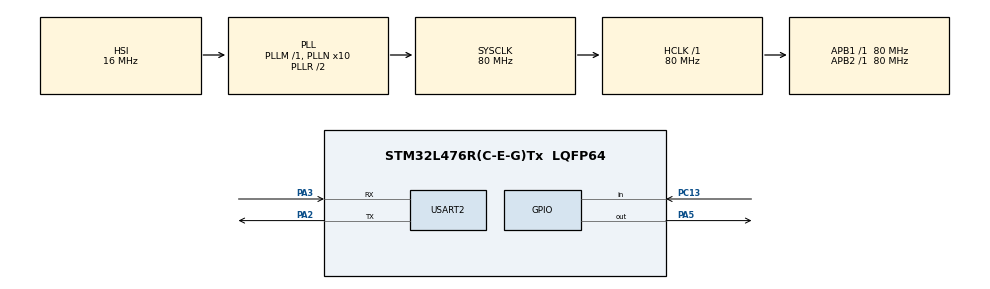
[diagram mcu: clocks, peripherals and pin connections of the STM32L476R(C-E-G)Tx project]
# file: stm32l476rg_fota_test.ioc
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FREERTOS.Tasks01=defaultTask,24,128,StartDefaultTask,Default,NULL,Dynamic,NULL,NULL
Mcu.Family=STM32L4
Mcu.Name=STM32L476R(C-E-G)Tx
Mcu.Package=LQFP64
NVIC.PriorityGroup=NVIC_PRIORITYGROUP_4
NVIC.TIM5_IRQn=true\:0\:0\:false\:false\:true\:false\:false\:true
NVIC.TimeBase=TIM5_IRQn
NVIC.TimeBaseIP=TIM5
PA13\ (JTMS-SWDIO).Mode=Serial_Wire
PA13\ (JTMS-SWDIO).Signal=SYS_JTMS-SWDIO
PA14\ (JTCK-SWCLK).Mode=Serial_Wire
PA14\ (JTCK-SWCLK).Signal=SYS_JTCK-SWCLK
PA2.Mode=Asynchronous
PA2.Signal=USART2_TX
PA3.Mode=Asynchronous
PA3.Signal=USART2_RX
PA5.Signal=GPIO_Output
PC13.Signal=GPIO_Input
ProjectManager.HeapSize=0x200
ProjectManager.StackSize=0x400
ProjectManager.TargetToolchain=STM32CubeIDE
RCC.ADCFreq_Value=64000000
RCC.AHBFreq_Value=80000000
RCC.APB1Freq_Value=80000000
RCC.APB1TimFreq_Value=80000000
RCC.APB2Freq_Value=80000000
RCC.APB2TimFreq_Value=80000000
RCC.CortexFreq_Value=80000000
RCC.HCLKFreq_Value=80000000
RCC.HSE_VALUE=8000000
RCC.HSI_VALUE=16000000
RCC.LSE_VALUE=32768
RCC.MSI_VALUE=4000000
RCC.PLLN=10
RCC.PLLSourceVirtual=RCC_PLLSOURCE_HSI
RCC.SYSCLKFreq_VALUE=80000000
RCC.SYSCLKSource=RCC_SYSCLKSOURCE_PLLCLK
RCC.USBFreq_Value=64000000
RCC.VCOOutputFreq_Value=160000000
TIM6.Prescaler=100
USART2.VirtualMode-Asynchronous=VM_ASYNC
VP_FREERTOS_VS_CMSIS_V2.Mode=CMSIS_V2
VP_SYS_VS_tim5.Mode=TIM5
VP_TIM6_VS_ClockSourceINT.Mode=Enable_Timer
board=custom

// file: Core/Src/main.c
/* USER CODE BEGIN Header */
/**
  ******************************************************************************
  * @file           : main.c
  * @brief          : Main program body
  ******************************************************************************
  * @attention
  *
  * <h2><center>&copy; Copyright (c) 2020 STMicroelectronics.
  * All rights reserved.</center></h2>
  *
  * This software component is licensed by ST under BSD 3-Clause license,
  * the "License"; You may not use this file except in compliance with the
  * License. You may obtain a copy of the License at:
  *                        opensource.org/licenses/BSD-3-Clause
  *
  ******************************************************************************
  */
/* USER CODE END Header */
#include "main.h"
#include "cmsis_os.h"
#include "tim.h"
#include "usart.h"
#include "gpio.h"

/* USER CODE BEGIN Includes */
#include <stdio.h>
#include "app.h"
/* USER CODE END Includes */

void SystemClock_Config(void);
void MX_FREERTOS_Init(void);

/* USER CODE BEGIN 0 */
extern UART_HandleTypeDef huart2;
int _write(int file, char *data, int len)
{
  HAL_StatusTypeDef status = HAL_UART_Transmit(&huart2, (uint8_t*)data, len, 1000);
  return (status == HAL_OK ? len : 0);
}

/* USER CODE END 0 */

int main(void)
{

  /* MCU Configuration--------------------------------------------------------*/

  /* Reset of all peripherals, Initializes the Flash interface and the Systick. */
  HAL_Init();

  /* Configure the system clock */
  SystemClock_Config();

  /* Initialize all configured peripherals */
  MX_GPIO_Init();
  MX_USART2_UART_Init();
  MX_TIM6_Init();
  /* USER CODE BEGIN 2 */
  printf("App start\r\n");
  app_main();
  /* USER CODE END 2 */

  /* Init scheduler */
  osKernelInitialize();  /* Call init function for freertos objects (in freertos.c) */
  MX_FREERTOS_Init();
  /* Start scheduler */
  osKernelStart();

  /* We should never get here as control is now taken by the scheduler */
  /* Infinite loop */
  /* USER CODE BEGIN WHILE */
  HAL_Delay(1000);

  uint32_t BankActive = 0U;
  BankActive = READ_BIT(SYSCFG->MEMRMP, SYSCFG_MEMRMP_FB_MODE);

  if(BankActive == 0)
  {
    HAL_GPIO_WritePin(GPIOA, GPIO_PIN_5, GPIO_PIN_RESET);
    printf("[1]Start BANK 1 \r\n\n");
  }
  else
  {
    HAL_GPIO_WritePin(GPIOA, GPIO_PIN_5, GPIO_PIN_SET);
    printf("[2]Start BANK 2 \r\n\n");
  }

  while (1)
  {
    if(HAL_GPIO_ReadPin(GPIOC, GPIO_PIN_13) == GPIO_PIN_RESET)
    {
      HAL_Delay(100);

      if (BankActive == 0U )
      {
        printf("[1]Erase BANK 2 \r\n\n");
        FLASH_If_Erase(BankActive);
        printf("[1]Write BANK 2 \r\n\n");
        FLASH_If_Write( FLASH_START_BANK2, (uint32_t *)fw, FW_LEN);

        printf("[1]Restart BANK 2 \r\n\n");
        FLASH_If_BankSwitch();
      }
      else
      {
        //Serial_PutString((uint8_t *)"[2]Erase BANK 1 \r\n\n");
        //FLASH_If_Erase(BankActive);
        //Serial_PutString((uint8_t *)"[2]Write BANK 1 \r\n\n");
        //FLASH_If_Write( FLASH_START_BANK2, (uint32_t *)fw, FW_LEN);

        printf("[2]Restart BANK 1 \r\n\n");
        FLASH_If_BankSwitch();
      }
    }
    /* USER CODE END WHILE */

  }
}

void SystemClock_Config(void)
{
  RCC_OscInitTypeDef RCC_OscInitStruct = {0};
  RCC_ClkInitTypeDef RCC_ClkInitStruct = {0};
  RCC_PeriphCLKInitTypeDef PeriphClkInit = {0};

  /** Initializes the RCC Oscillators according to the specified parameters
  * in the RCC_OscInitTypeDef structure.
  */
  RCC_OscInitStruct.OscillatorType = RCC_OSCILLATORTYPE_HSI;
  RCC_OscInitStruct.HSIState = RCC_HSI_ON;
  RCC_OscInitStruct.HSICalibrationValue = RCC_HSICALIBRATION_DEFAULT;
  RCC_OscInitStruct.PLL.PLLState = RCC_PLL_ON;
  RCC_OscInitStruct.PLL.PLLSource = RCC_PLLSOURCE_HSI;
  RCC_OscInitStruct.PLL.PLLM = 1;
  RCC_OscInitStruct.PLL.PLLN = 10;
  RCC_OscInitStruct.PLL.PLLP = RCC_PLLP_DIV7;
  RCC_OscInitStruct.PLL.PLLQ = RCC_PLLQ_DIV2;
  RCC_OscInitStruct.PLL.PLLR = RCC_PLLR_DIV2;
  if (HAL_RCC_OscConfig(&RCC_OscInitStruct) != HAL_OK)
  {
    Error_Handler();
  }
  /** Initializes the CPU, AHB and APB buses clocks
  */
  RCC_ClkInitStruct.ClockType = RCC_CLOCKTYPE_HCLK|RCC_CLOCKTYPE_SYSCLK
                              |RCC_CLOCKTYPE_PCLK1|RCC_CLOCKTYPE_PCLK2;
  RCC_ClkInitStruct.SYSCLKSource = RCC_SYSCLKSOURCE_PLLCLK;
  RCC_ClkInitStruct.AHBCLKDivider = RCC_SYSCLK_DIV1;
  RCC_ClkInitStruct.APB1CLKDivider = RCC_HCLK_DIV1;
  RCC_ClkInitStruct.APB2CLKDivider = RCC_HCLK_DIV1;

  if (HAL_RCC_ClockConfig(&RCC_ClkInitStruct, FLASH_LATENCY_4) != HAL_OK)
  {
    Error_Handler();
  }
  PeriphClkInit.PeriphClockSelection = RCC_PERIPHCLK_USART2;
  PeriphClkInit.Usart2ClockSelection = RCC_USART2CLKSOURCE_PCLK1;
  if (HAL_RCCEx_PeriphCLKConfig(&PeriphClkInit) != HAL_OK)
  {
    Error_Handler();
  }
  /** Configure the main internal regulator output voltage
  */
  if (HAL_PWREx_ControlVoltageScaling(PWR_REGULATOR_VOLTAGE_SCALE1) != HAL_OK)
  {
    Error_Handler();
  }
}

void HAL_TIM_PeriodElapsedCallback(TIM_HandleTypeDef *htim)
{
  if (htim->Instance == TIM5) {
    HAL_IncTick();
  }
}

void Error_Handler(void)
{
}

/************************ (C) COPYRIGHT STMicroelectronics *****END OF FILE****/
